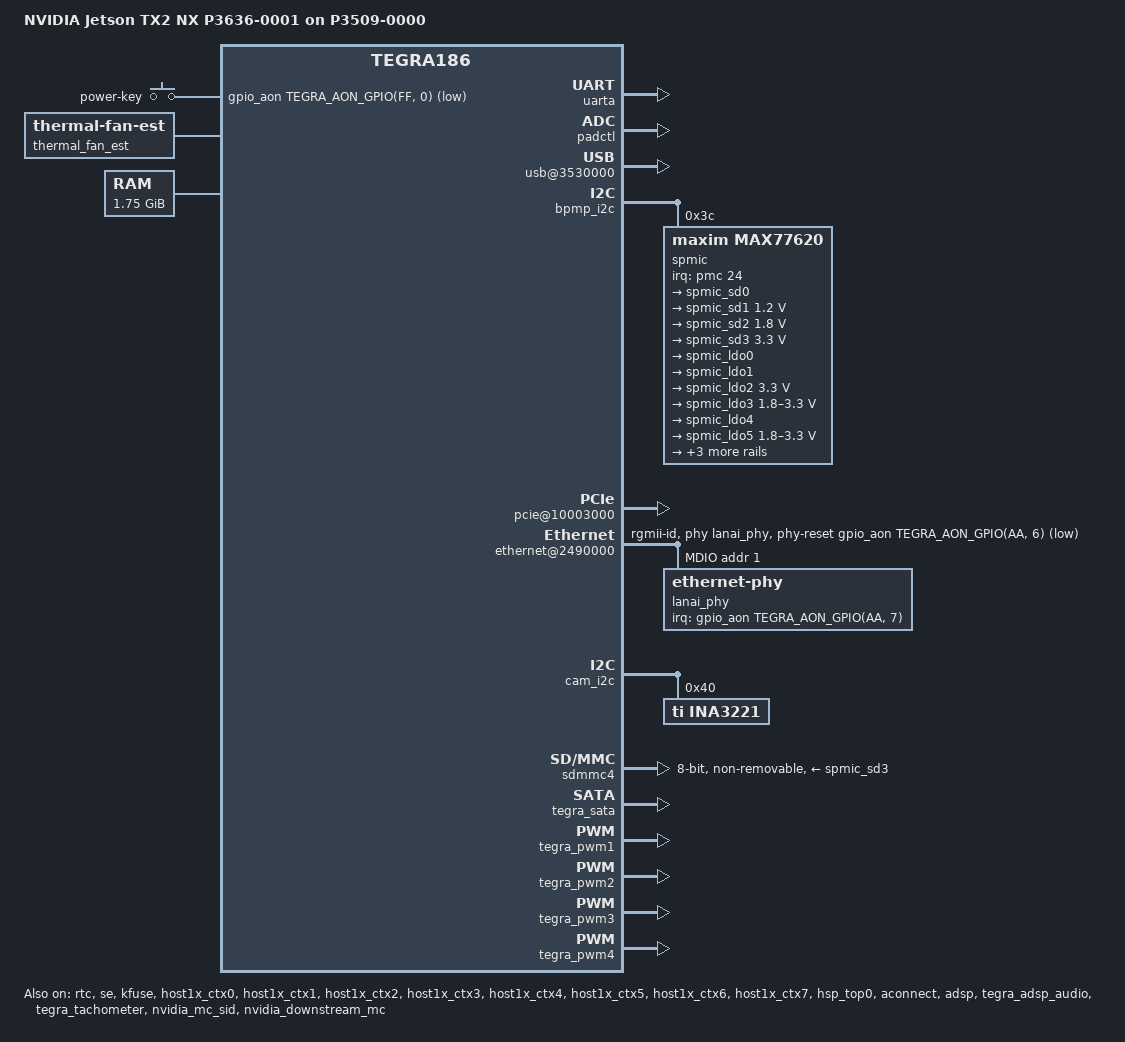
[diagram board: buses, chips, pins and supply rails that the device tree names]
// SPDX-License-Identifier: GPL-2.0

/dts-v1/;


#include "tegra186.dtsi"
#include "tegra186-camera-legacy.dtsi"
#include "tegra186-camera-p3636-rbpcv2-imx219.dtsi"
#include "tegra186-p3636-0001-audio.dtsi"
#include "tegra186-p3636-0001-pwm-fan.dtsi"

#include <dt-bindings/input/input.h>
#include <dt-bindings/interrupt-controller/irq.h>
#include <dt-bindings/mfd/max77620.h>
#include "tegra186-p3636-0001-display.dtsi"
#include "tegra186-p3636-0001-display-imp.dtsi"
#include "tegra186-p3636-0001-balanced-throttle.dtsi"
#include "tegra186-p3636-0001-power-tree.dtsi"

/ {
	model = "NVIDIA Jetson TX2 NX P3636-0001 on P3509-0000";
	compatible = "nvidia,p3509-0000+p3636-0001",
		     "nvidia,p3636-0001",
		     "nvidia,tegra186";

	gpio-keys {
		compatible = "gpio-keys";

		power-key {
			label = "power-key";
			gpios = <&gpio_aon TEGRA_AON_GPIO(FF, 0) GPIO_ACTIVE_LOW>;
			linux,code = <KEY_POWER>;
			wakeup-source;
		};
	};

	thermal_fan_est_shared_data: tfesd {
		secret = <37>;
		toffset = <0>;
		polling_period = <1100>;
		ndevs = <3>;
		cdev_type = "pwm-fan";
		tzp_governor_name = "pid_thermal_gov";

		dev1 {
			/* R32 BCPU-therm: Denver cluster. */
			dev_data = "denver";
			coeffs = <30 0 0 0 0 0 0 0 0 0 0 0 0 0 0 0 0 0 0 0>;
		};

		dev2 {
			/* R32 MCPU-therm: Cortex-A57 cluster. */
			dev_data = "a57";
			coeffs = <30 0 0 0 0 0 0 0 0 0 0 0 0 0 0 0 0 0 0 0>;
		};

		dev3 {
			/* R32 GPU-therm. */
			dev_data = "gpu";
			coeffs = <40 0 0 0 0 0 0 0 0 0 0 0 0 0 0 0 0 0 0 0>;
		};
	};

	thermal_fan_est: thermal-fan-est {
		compatible = "thermal-fan-est";
		name = "thermal-fan-est";
		num_resources = <0>;
		shared_data = <&thermal_fan_est_shared_data>;
		trip_length = <10>;

		profiles {
			default = "quiet";

			quiet {
				active_trip_temps = <0 46000 60000 68000 76000
					140000 150000 160000 170000 180000>;
				active_hysteresis = <0 8000 8000 7000 7000
					0 0 0 0 0>;
			};

			cool {
				active_trip_temps = <0 35000 45000 53000 61000
					140000 150000 160000 170000 180000>;
				active_hysteresis = <0 8000 8000 7000 7000
					0 0 0 0 0>;
			};
		};
	};



	aliases {
		serial0 = &uarta;
		ethernet0 = "/ethernet@2490000";
		i2c3 = &dp_aux_ch1_i2c;
	};

	aliases {
		sdhci0 = &sdmmc1;
		sdhci1 = &sdmmc2;
		sdhci2 = &sdmmc3;
		sdhci3 = &sdmmc4;
	};

	nvpmodel {
		compatible = "nvidia,nvpmodel";
		status = "okay";
	};

	bwmgr {
		compatible = "nvidia,bwmgr";
		clocks = <&bpmp TEGRA186_CLK_EMC>;
		clock-names = "emc";

		nvidia,bpmp = <&bpmp>;

		cdev-type = "bwmgr-therm-handler";
		cooling-min-state = <0>;
		cooling-max-state = <1>;
		#cooling-cells = <2>;

		status = "okay";
	};

	memory@80000000 {
		device_type = "memory";
		reg = <0x0 0x80000000 0x0 0x70000000>;
	};

	psci {
		compatible = "arm,psci-0.2";
		method = "smc";
	};
};

&rtc {
	status = "okay";
};

&uarta {
	status = "okay";
};

/*
 * P3636 XUSB enablement.
 *
 * Restore the native Tegra186 XUSB lanes used by the original P3636
 * platform.  For the Turing Pi 2 use case USB2-0 is forced to host mode
 * instead of OTG so a USB device selected by the BMC switch enumerates
 * directly on the Tegra XHCI controller.
 */
&padctl {
	status = "okay";

	interrupts = <GIC_SPI 167 IRQ_TYPE_LEVEL_HIGH>;

	pads {
		usb2 {
			status = "okay";

			lanes {
				usb2-0 {
					nvidia,function = "xusb";
					status = "okay";
				};

				usb2-1 {
					nvidia,function = "xusb";
					status = "okay";
				};

				usb2-2 {
					nvidia,function = "xusb";
					status = "okay";
				};
			};
		};

		usb3 {
			status = "okay";

			lanes {
				usb3-1 {
					nvidia,function = "xusb";
					status = "okay";
				};
			};
		};
	};

	ports {
		usb2-0 {
			status = "okay";
			mode = "host";
		};

		usb2-1 {
			status = "okay";
			mode = "host";
		};

		usb2-2 {
			status = "okay";
			mode = "host";
		};

		usb3-1 {
			nvidia,usb2-companion = <1>;
			status = "okay";
		};
	};
};

&{/usb@3530000} {
	status = "okay";

	phys = <&{/padctl@3520000/pads/usb2/lanes/usb2-0}>,
	       <&{/padctl@3520000/pads/usb2/lanes/usb2-1}>,
	       <&{/padctl@3520000/pads/usb2/lanes/usb2-2}>,
	       <&{/padctl@3520000/pads/usb3/lanes/usb3-1}>;

	phy-names = "usb2-0", "usb2-1", "usb2-2", "usb3-1";
};

&{/usb@3550000} {
	status = "disabled";
};

/* Enable the Tegra186 security-engine TRNG used by the hwrng bridge. */
&se {
	status = "okay";
};

/* NVDEC requires KFUSE sensing during Falcon firmware bring-up. */
&kfuse {
	status = "okay";
};

/*
 * Legacy nvhost allocates per-channel address spaces from the T186 host1x
 * context StreamIDs. NVIDIA's R32 CVM DT enables all eight contexts.
 */
&host1x_ctx0 {
	status = "okay";
};

&host1x_ctx1 {
	status = "okay";
};

&host1x_ctx2 {
	status = "okay";
};

&host1x_ctx3 {
	status = "okay";
};

&host1x_ctx4 {
	status = "okay";
};

&host1x_ctx5 {
	status = "okay";
};

&host1x_ctx6 {
	status = "okay";
};

&host1x_ctx7 {
	status = "okay";
};

/*
 * MAX77620 system PMIC.
 *
 * This is the P3636-0001 rail/FPS description from NVIDIA's T18x
 * downstream board tree, translated to the 5.10 MAX77620 bindings.
 * Only board-consumer mappings needed by this headless TX2 NX port
 * are described below; display/camera/XUSB consumer rails stay out.
 */
&bpmp_i2c {
	status = "okay";

	spmic: pmic@3c {
		compatible = "maxim,max77620";
		reg = <0x3c>;

		interrupt-parent = <&pmc>;
		interrupts = <24 IRQ_TYPE_LEVEL_LOW>;

		#interrupt-cells = <2>;
		interrupt-controller;

		#gpio-cells = <2>;
		gpio-controller;

		#thermal-sensor-cells = <0>;

		/* P3636 uses the PMIC as the system power-off controller. */
		maxim,enable-clock32k-out;
		maxim,system-pmic-power-off;
		maxim,avoid-power-off-commands;

		pinctrl-names = "default";
		pinctrl-0 = <&spmic_default>;

		spmic_default: pinmux {
			gpio0 {
				pins = "gpio0";
				function = "gpio";
			};

			gpio1 {
				pins = "gpio1";
				function = "fps-out";
				maxim,active-fps-source =
					<MAX77620_FPS_SRC_0>;
				maxim,active-fps-power-up-slot = <1>;
				maxim,active-fps-power-down-slot = <3>;
			};

			gpio2 {
				pins = "gpio2";
				function = "fps-out";
				maxim,active-fps-source =
					<MAX77620_FPS_SRC_1>;
				maxim,active-fps-power-up-slot = <7>;
				maxim,active-fps-power-down-slot = <1>;
				status = "disabled";
			};

			gpio3 {
				pins = "gpio3";
				function = "fps-out";
				maxim,active-fps-source =
					<MAX77620_FPS_SRC_1>;
				maxim,active-fps-power-up-slot = <1>;
				maxim,active-fps-power-down-slot = <7>;
				status = "disabled";
			};

			gpio4 {
				pins = "gpio4";
				function = "32k-out1";
				drive-push-pull = <1>;
			};

			gpio5 {
				pins = "gpio5";
				function = "gpio";
				drive-push-pull = <0>;
			};

			gpio6 {
				pins = "gpio6";
				function = "gpio";
				drive-push-pull = <1>;
			};

			gpio7 {
				pins = "gpio7";
				function = "gpio";
				drive-push-pull = <1>;
			};
		};

		spmic_gpio_input {
			gpio-hog;
			gpios = <5 0 6 0>;
			input;
			label = "spmic_gpio_input_5",
				"spmic_gpio_input_6";
		};

		fps {
			fps0 {
				maxim,fps-event-source =
					<MAX77620_FPS_EVENT_SRC_EN0>;
				maxim,shutdown-fps-time-period-us = <640>;
			};

			fps1 {
				maxim,fps-event-source =
					<MAX77620_FPS_EVENT_SRC_EN1>;
				maxim,shutdown-fps-time-period-us = <640>;
				maxim,device-state-on-disabled-event =
					<MAX77620_FPS_INACTIVE_STATE_SLEEP>;
			};

			fps2 {
				maxim,fps-event-source =
					<MAX77620_FPS_EVENT_SRC_EN0>;
				maxim,shutdown-fps-time-period-us = <640>;
			};
		};

		backup-battery {
			backup-battery-charging-current = <100>;
			backup-battery-charging-voltage = <3000000>;
			backup-battery-output-resister = <100>;
			status = "disabled";
		};

		regulators {
			/*
			 * NVIDIA's P3636 wiring has LDO4 and LDO6 sourced
			 * from SD2, and LDO7/LDO8 sourced from SD1.  The
			 * 5.10 MAX77620 driver represents LDO4/LDO6 as one
			 * shared "in-ldo4-6" supply.
			 */
			in-ldo4-6-supply = <&spmic_sd2>;
			in-ldo7-8-supply = <&spmic_sd1>;

			spmic_sd0: sd0 {
				regulator-name = "vddio-ddr";
				regulator-boot-on;
				regulator-always-on;
				maxim,active-fps-source =
					<MAX77620_FPS_SRC_0>;
				maxim,active-fps-power-up-slot = <5>;
				maxim,active-fps-power-down-slot = <2>;
				regulator-enable-ramp-delay = <278>;
				regulator-disable-ramp-delay = <153000>;
				maxim,ramp-rate-setting = <27500>;
				regulator-ramp-delay = <3930>;
			};

			spmic_sd1: sd1 {
				regulator-name = "avdd_dsi_csi";
				regulator-min-microvolt = <1200000>;
				regulator-max-microvolt = <1200000>;
				regulator-always-on;
				regulator-boot-on;
				maxim,active-fps-source =
					<MAX77620_FPS_SRC_1>;
				maxim,active-fps-power-up-slot = <3>;
				maxim,active-fps-power-down-slot = <1>;
				regulator-enable-ramp-delay = <211>;
				regulator-disable-ramp-delay = <40000>;
				maxim,ramp-rate-setting = <27500>;
				regulator-ramp-delay = <5500>;
			};

			spmic_sd2: sd2 {
				regulator-name = "vdd-1v8";
				regulator-min-microvolt = <1800000>;
				regulator-max-microvolt = <1800000>;
				regulator-always-on;
				regulator-boot-on;
				maxim,active-fps-source =
					<MAX77620_FPS_SRC_0>;
				maxim,active-fps-power-up-slot = <0>;
				maxim,active-fps-power-down-slot = <7>;
				regulator-enable-ramp-delay = <4000>;
				regulator-disable-ramp-delay = <21000>;
				maxim,ramp-rate-setting = <27500>;
				regulator-ramp-delay = <450>;
			};

			spmic_sd3: sd3 {
				regulator-name = "vdd-3v3-sys";
				regulator-min-microvolt = <3300000>;
				regulator-max-microvolt = <3300000>;
				regulator-always-on;
				regulator-boot-on;
				maxim,active-fps-source =
					<MAX77620_FPS_SRC_0>;
				maxim,active-fps-power-up-slot = <6>;
				maxim,active-fps-power-down-slot = <1>;
				regulator-enable-ramp-delay = <574>;
				regulator-disable-ramp-delay = <40000>;
				maxim,ramp-rate-setting = <27500>;
				regulator-ramp-delay = <5500>;
			};

			spmic_ldo0: ldo0 {
				regulator-name = "spmic-ldo0";
				maxim,active-fps-source =
					<MAX77620_FPS_SRC_1>;
				regulator-enable-ramp-delay = <1000>;
				maxim,active-fps-power-up-slot = <3>;
				maxim,active-fps-power-down-slot = <3>;
				maxim,ramp-rate-setting = <100000>;
				regulator-ramp-delay = <100000>;
			};

			spmic_ldo1: ldo1 {
				regulator-name = "spmic-ldo1";
				maxim,active-fps-source =
					<MAX77620_FPS_SRC_DEF>;
				regulator-enable-ramp-delay = <1000>;
				maxim,ramp-rate-setting = <100000>;
				regulator-ramp-delay = <100000>;
			};

			spmic_ldo2: ldo2 {
				regulator-name = "vddio-3v3";
				regulator-min-microvolt = <3300000>;
				regulator-max-microvolt = <3300000>;
				regulator-always-on;
				regulator-boot-on;
				maxim,active-fps-source =
					<MAX77620_FPS_SRC_0>;
				maxim,active-fps-power-up-slot = <6>;
				maxim,active-fps-power-down-slot = <1>;
				regulator-enable-ramp-delay = <152>;
				regulator-disable-ramp-delay = <14000>;
				maxim,ramp-rate-setting = <100000>;
				regulator-ramp-delay = <20000>;
			};

			spmic_ldo3: ldo3 {
				regulator-name = "vddio-sdmmc1";
				regulator-min-microvolt = <1800000>;
				regulator-max-microvolt = <3300000>;
				maxim,active-fps-source =
					<MAX77620_FPS_SRC_NONE>;
				maxim,active-fps-power-up-slot = <0>;
				maxim,active-fps-power-down-slot = <7>;
				regulator-enable-ramp-delay = <160>;
				regulator-disable-ramp-delay = <16000>;
				maxim,ramp-rate-setting = <5000>;
				regulator-ramp-delay = <1000>;
			};

			spmic_ldo4: ldo4 {
				regulator-name = "vdd-rtc";
				regulator-always-on;
				regulator-boot-on;
				maxim,active-fps-source =
					<MAX77620_FPS_SRC_0>;
				maxim,active-fps-power-up-slot = <1>;
				maxim,active-fps-power-down-slot = <7>;
				regulator-enable-ramp-delay = <26>;
				regulator-disable-ramp-delay = <1650>;
				maxim,ramp-rate-setting = <100000>;
				regulator-ramp-delay = <33000>;
			};

			spmic_ldo5: ldo5 {
				regulator-name = "avdd-ts-hv";
				regulator-min-microvolt = <1800000>;
				regulator-max-microvolt = <3300000>;
				maxim,active-fps-source =
					<MAX77620_FPS_SRC_DEF>;
				maxim,active-fps-power-up-slot = <0>;
				maxim,active-fps-power-down-slot = <7>;
				regulator-enable-ramp-delay = <309>;
				regulator-disable-ramp-delay = <16000>;
				maxim,ramp-rate-setting = <5000>;
				regulator-ramp-delay = <526>;
			};

			spmic_ldo6: ldo6 {
				regulator-name = "spmic-ldo6";
				maxim,active-fps-source =
					<MAX77620_FPS_SRC_NONE>;
				regulator-always-on;
				regulator-boot-on;
				maxim,ramp-rate-setting = <100000>;
				regulator-ramp-delay = <100000>;
			};

			spmic_ldo7: ldo7 {
				regulator-name = "vdd-pex-1v00";
				regulator-min-microvolt = <1000000>;
				regulator-max-microvolt = <1000000>;
				regulator-always-on;
				regulator-boot-on;
				maxim,active-fps-source =
					<MAX77620_FPS_SRC_1>;
				maxim,active-fps-power-up-slot = <4>;
				maxim,active-fps-power-down-slot = <1>;
				regulator-enable-ramp-delay = <95>;
				regulator-disable-ramp-delay = <15000>;
				maxim,ramp-rate-setting = <100000>;
				regulator-ramp-delay = <10000>;
			};

			spmic_ldo8: ldo8 {
				regulator-name = "dvdd-pex";
				regulator-min-microvolt = <1000000>;
				regulator-max-microvolt = <1000000>;
				maxim,active-fps-source =
					<MAX77620_FPS_SRC_DEF>;
			};
		};
	};
};

/*
 * MAX77620 PMIC die thermal alarms.
 *
 * The MAX77620 provides fixed hardware temperature alarms at
 * 120 C and 140 C; it does not provide continuous die temperature.
 */
&{/thermal-zones} {
	PMIC-Die {
		polling-delay = <0>;
		polling-delay-passive = <0>;
		thermal-sensors = <&spmic>;

		trips {
			pmic_die_warn: hot-die {
				temperature = <120000>;
				type = "hot";
				hysteresis = <0>;
			};

			pmic_die_critical: critical-die {
				temperature = <140000>;
				type = "critical";
				hysteresis = <0>;
			};
		};
	};
};

/*
 * P3636-0002 PCIe configuration.
 *
 * The complete controller itself already lives in tegra186.dtsi.
  */
&{/pcie@10003000} {
	status = "okay";

	dvdd-pex-supply = <&spmic_ldo7>;
	hvdd-pex-pll-supply = <&spmic_sd2>;
	hvdd-pex-supply = <&spmic_sd2>;
	vddio-pexctl-aud-supply = <&spmic_sd2>;

	pci@1,0 {
		nvidia,num-lanes = <2>;
		nvidia,disable-clock-request;
		status = "okay";
	};

	pci@2,0 {
		nvidia,num-lanes = <1>;
		nvidia,disable-clock-request;
		status = "disabled";
	};

	pci@3,0 {
		nvidia,num-lanes = <1>;
		nvidia,disable-clock-request;
		status = "okay";
	};
};

/*
 * P3636-0001 onboard Gigabit Ethernet.
 *
 * Original Lanai wiring:
 *   PHY address: 1
 *   interface:   RGMII-ID
 *   PHY reset:   AON GPIO AA.6
 *   PHY IRQ:     AON GPIO AA.7
  */
&{/ethernet@2490000} {
	status = "okay";

	/*
	  * Original P3636/Lanai EQOS power tree.
	  */
	vddio_sys_enet_bias-supply = <&spmic_sd2>;
	vddio_enet-supply = <&spmic_sd3>;
	phy_vdd_1v8-supply = <&spmic_sd2>;
	phy_ovdd_rgmii-supply = <&spmic_sd3>;
	phy_pllvdd-supply = <&spmic_sd1>;

	phy-mode = "rgmii-id";
	phy-handle = <&lanai_phy>;

	phy-reset-gpios =
		<&gpio_aon TEGRA_AON_GPIO(AA, 6) GPIO_ACTIVE_LOW>;

	mdio {
		#address-cells = <1>;
		#size-cells = <0>;

		lanai_phy: ethernet-phy@1 {
			reg = <1>;

			interrupt-parent = <&gpio_aon>;
			interrupts =
				<TEGRA_AON_GPIO(AA, 7) IRQ_TYPE_LEVEL_LOW>;
		};
	};
};

/*
 * P3636 module power monitor.
 *
 * NVIDIA's 4.9 board tree used the downstream "ti,ina3221x" binding.
 * Linux 5.10 has the upstream INA3221 hwmon driver, so translate the
 * three P3636 rails to its standard binding and preserve the 5 mOhm
 * shunts from the original board description.
 */
&cam_i2c {
	status = "okay";

	ina3221@40 {
		compatible = "ti,ina3221";
		reg = <0x40>;
		#address-cells = <1>;
		#size-cells = <0>;

		input@0 {
			reg = <0>;
			label = "VDD_IN";
			shunt-resistor-micro-ohms = <5000>;
		};

		input@1 {
			reg = <1>;
			label = "VDD_CPU_GPU";
			shunt-resistor-micro-ohms = <5000>;
		};

		input@2 {
			reg = <2>;
			label = "VDD_SOC";
			shunt-resistor-micro-ohms = <5000>;
		};
	};
};

/*
 * Tegra186 GP10B GPU.
 *
 * The upstream Tegra186 DT uses the generic "nvidia,gp10b"
 * compatible and leaves the node disabled.  The NVIDIA nvgpu
 * port uses the Tegra186-specific platform data through
 * "nvidia,tegra186-gp10b".
  */
&{/gpu@17000000} {
        compatible = "nvidia,tegra186-gp10b", "nvidia,gp10b";
        nvidia,host1x = <&host1x>;
        status = "okay";
};

/*
 * NVIDIA downstream Tegra186 memory controller.
 *
 * Required by the downstream T18x latency-allowance/PTSA implementation.
 * Resource 0 is the MC broadcast aperture, followed by MC0..MC3 and
 * EMC broadcast/EMC0..EMC3.
  */
&{/} {
        nvidia_downstream_mc {
                compatible = "nvidia,tegra-t18x-mc";

                reg-ranges = <1>;
                reg = <0x0 0x02c10000 0x0 0x00010000
                       0x0 0x02c20000 0x0 0x00010000
                       0x0 0x02c30000 0x0 0x00010000
                       0x0 0x02c40000 0x0 0x00010000
                       0x0 0x02c50000 0x0 0x00010000
                       0x0 0x02c60000 0x0 0x00010000
                       0x0 0x02c70000 0x0 0x00010000
                       0x0 0x02c80000 0x0 0x00010000
                       0x0 0x02c90000 0x0 0x00010000
                       0x0 0x02ca0000 0x0 0x00010000>;

                interrupts = <0 223 0x4>, <0 224 0x4>;
                int_mask = <0xf3140>;
                ecc_int_mask = <0x1c00>;
                channels = <4>;

                status = "okay";
        };
};

/*
 * BPMP communicates with the CCPLEX through the Tegra HSP.
 * tegra186.dtsi leaves this disabled; board DT must enable it.
  */
&hsp_top0 {
	status = "okay";
};

/ {
	nvidia_mc_sid: mc_sid@2c00000 {
		compatible = "nvidia,tegra186-mc-sid";
		reg = <0x0 0x02c00000 0x0 0x00010000>;
		status = "okay";
	};
};

&pmc {
	nvidia,invert-interrupt;
	nvidia,restrict-voltage-switch;

	pinctrl-names = "default";
	pinctrl-0 = <&p3636_iopad_defaults>;

	p3636_iopad_defaults: iopad-defaults {
		sdmmc-io-pads {
			pins = "sdmmc1-hv", "sdmmc2-hv", "sdmmc3-hv";
			nvidia,enable-voltage-switching;
		};
	};
};


/* P3636 onboard eMMC -- settings ported from NVIDIA L4T 4.9 */
&sdmmc4 {
	status = "okay";

	/* P3636 eMMC power tree from NVIDIA's downstream board DTS. */
	vqmmc-supply = <&spmic_sd2>;
	vmmc-supply = <&spmic_sd3>;

	max-clk-limit = <196249804>;
	ddr-clk-limit = <48000000>;

	nvidia,clk-en-before-freq-update;

	tap-delay = <9>;
	trim-delay = <5>;
	nvidia,ddr-tap-delay = <9>;
	ddr-trim-delay = <5>;

	mmc-ocr-mask = <0>;
	bus-width = <8>;

	ignore-pm-notify;
	keep-power-in-suspend;
	non-removable;

	cap-mmc-highspeed;
	cap-sd-highspeed;
	mmc-ddr-1_8v;
	mmc-hs200-1_8v;
	mmc-hs400-1_8v;
	only-1-8-v;

	compad-vref-3v3 = <0x7>;
	compad-vref-1v8 = <0x7>;

	nvidia,min-tap-delay = <84>;
	nvidia,max-tap-delay = <136>;

	nvidia,is-emmc;
	nvidia,set-parent-clk;

	calib-3v3-offsets = <0x0505>;
	calib-1v8-offsets = <0x0505>;

	nvidia,parent_clk_list =
		"pll_p", "pll_p", "pll_p", "pll_p", "pll_p",
		"pll_c4_out0", "pll_c4_out0", "pll_c4_out0",
		"pll_c4_out0", "pll_c4_out0", "pll_c4_out0";

	pll_source = "pll_p", "pll_c4_out0";

	prod-settings {
		#prod-cells = <3>;

		prod_c_ds {
			prod = <
				0x00000100 0x00FF0000 0x00090000
				0x000001E0 0x0000000F 0x00000007
				0x000001E4 0x20007F7F 0x20000000
			>;
		};

		prod_c_hs {
			prod = <
				0x00000100 0x00FF0000 0x00090000
				0x000001E0 0x0000000F 0x00000007
				0x000001E4 0x20007F7F 0x20000000
			>;
		};

		prod_c_ddr52 {
			prod = <
				0x00000100 0x1FFF0000 0x05090000
				0x000001E0 0x0000000F 0x00000007
				0x000001E4 0x20007F7F 0x20000000
			>;
		};

		prod_c_hs200 {
			prod = <
				0x00000100 0x00FF0000 0x00090000
				0x000001C0 0x0000E000 0x00004000
				0x000001E0 0x0000000F 0x00000007
				0x000001E4 0x20007F7F 0x20000505
			>;
		};

		prod_c_hs400 {
			prod = <
				0x00000100 0x00FF0000 0x00090000
				0x000001C0 0x0000E000 0x00004000
				0x0000010C 0x00003F00 0x00003F00
				0x000001E0 0x0000000F 0x00000007
				0x000001E4 0x20007F7F 0x20000505
			>;
		};

		prod_c_hs533 {
			prod = <
				0x00000100 0x00FF0000 0x00090000
				0x000001C0 0x0000E000 0x00002000
				0x000001E0 0x0000000F 0x00000007
				0x000001E4 0x20000000 0x20000505
			>;
		};

		prod {
			prod = <
				0x00000100 0x1FFF002E 0x05090028
				0x0000010C 0x00003F00 0x00003F00
				0x000001C0 0x0BFC1FF8 0x08000050
				0x000001C4 0x00000077 0x00000000
				0x00000120 0x00020001 0x00000001
				0x00000128 0x43000000 0x00000000
			>;
		};
	};
};

/* Tegra186 APE/NVADSP. The ADSP OS is preloaded from the adsp-fw partition. */
&aconnect {
	status = "okay";
};

&agic {
	status = "okay";
};

&adsp {
	status = "okay";
};

&tegra_adsp_audio {
	status = "okay";
};

&tegra_sata {
	status = "okay";
};

/* NVIDIA's P3636 board enables the four PWM controllers used on the module/CVB. */
&tegra_pwm1 {
	status = "okay";
};

&tegra_pwm2 {
	status = "okay";
};

&tegra_pwm3 {
	status = "okay";
};

&tegra_pwm4 {
	status = "okay";
};

/* P3636 fan tachometer input. The 5.10 driver exposes RPM through hwmon. */
&tegra_tachometer {
	status = "okay";
};
